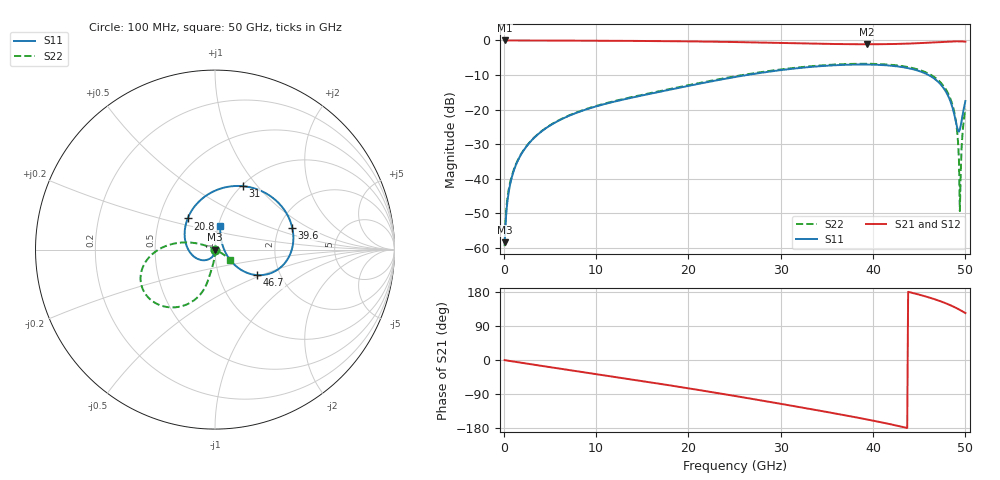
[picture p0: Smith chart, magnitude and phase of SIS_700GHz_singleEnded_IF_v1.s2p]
! Touchstone file from project
# GHZ S MA R 50.000000
! Modal data exported
! Port[1] = IF_output:1
! Port[2] = RF_input:1
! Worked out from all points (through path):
!   500 points, 100 MHz to 50 GHz, reference 50 ohm
!   highest |S21| = 0.00 dB at 100 MHz (marker M1); lowest = -1.1 dB at 39.3 GHz (marker M2)
!   group delay of S21, straight-line fit = 11.9 ps
!   lowest |S11| = -58.4 dB at 100 MHz (marker M3), VSWR 1.00, Z = 50.1 - j0.103 ohm
!   |S11| at or under -10 dB: start of sweep to 26.37 GHz; 46 GHz to end of sweep
!   |S22| runs from -59.6 to -6.7 dB; largest |S21 - S12| = 0
!   S11 on the Smith chart (normalised r, x): 100 MHz: 1.00, -0.00; 20.8 GHz: 0.70, +0.26; 31 GHz: 1.01, +0.84; 39.6 GHz: 2.35, +0.72; 46.7 GHz: 1.53, -0.47; 50 GHz: 1.02, +0.27
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0.1  0.001196 -59.5  0.9998 -0.4  0.9998 -0.4  0.001049 -102.3
! Gamma 5.665364E-003 5.281986E+000 0.000000E+000 0.000000E+000
! Port Impedance 5.000000E+001 0.000000E+000 5.000000E+001 0.000000E+000
0.4  0.004607 -95.2  0.9994 -1.5  0.9994 -1.5  0.005159 -78.2
0.7  0.008246 -94.8  0.9992 -2.7  0.9992 -2.7  0.008803 -83.5
2  0.02371 -100.0  0.9987 -7.6  0.9987 -7.6  0.02396 -90.8
4.5  0.05279 -116.4  0.9969 -17.0  0.9969 -17.0  0.05317 -94.8
8.5  0.09585 -142.6  0.9931 -31.8  0.9931 -31.8  0.09716 -98.8
16.8  0.1795 159.4  0.9791 -62.4  0.9791 -62.4  0.1834 -103.1
20.8  0.2308 131.3  0.9675 -77.8  0.9675 -77.8  0.2362 -106.0
25.1  0.2961 102.7  0.9486 -95.1  0.9486 -95.1  0.3032 -112.2
31  0.3858 66.4  0.9138 -119.9  0.9138 -119.9  0.3946 -125.3
33.4  0.4152 52.3  0.8998 -130.2  0.8998 -130.2  0.4248 -131.7
39.3  0.4479 17.7  0.8806 -156.7  0.8806 -156.7  0.4597 -149.7
39.6  0.4474 15.9  0.8807 -158.1  0.8807 -158.1  0.4592 -150.7
41.7  0.4338 3.0  0.8856 -168.5  0.8856 -168.5  0.4467 -158.2
46.7  0.2755 -31.1  0.9396 160.1  0.9396 160.1  0.2905 177.4
48.6  0.107 -35.2  0.9685 142.1  0.9685 142.1  0.1167 161.9
49  0.06383 -18.5  0.9712 137.4  0.9712 137.4  0.06367 157.4
49.2  0.04942 5.0  0.9714 134.9  0.9714 134.9  0.03443 154.6
49.4  0.051 38.4  0.9708 132.3  0.9708 132.3  0.00338 139.1
49.6  0.07007 61.7  0.969 129.6  0.969 129.6  0.02987 -27.1
49.8  0.09881 72.6  0.9659 126.7  0.9659 126.7  0.065 -30.5
50  0.1326 77.2  0.9614 123.8  0.9614 123.8  0.1022 -33.5
